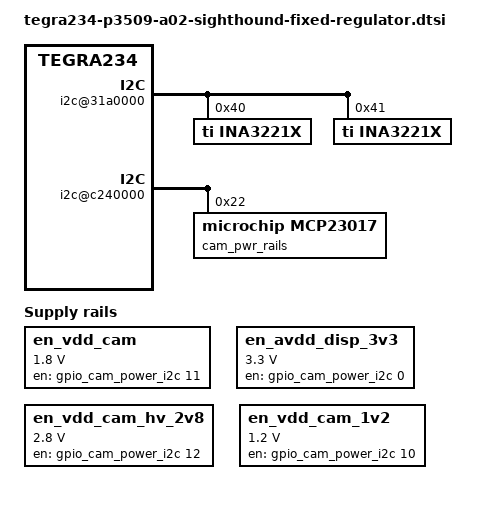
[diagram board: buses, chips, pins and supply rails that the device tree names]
/*
 * Copyright (c) 2022, NVIDIA CORPORATION.  All rights reserved.
 *
 * This program is free software; you can redistribute it and/or modify
 * it under the terms of the GNU General Public License as published by
 * the Free Software Foundation; either version 2 of the License, or
 * (at your option) any later version.
 *
 * This program is distributed in the hope that it will be useful, but WITHOUT
 * ANY WARRANTY; without even the implied warranty of MERCHANTABILITY or
 * FITNESS FOR A PARTICULAR PURPOSE.  See the GNU General Public License for
 * more details.
 */
/ {
	i2c@31a0000 {
		ina3221x@40 { // NAMES FOR THE NEW INA'S
			compatible = "ti,ina3221x";
			reg = <0x40>;
			ti,trigger-config = <0x7003>;
			ti,continuous-config = <0x7c07>;
			ti,enable-forced-continuous;
			#address-cells = <1>;
			#size-cells = <0>;
			channel@0 {
				reg = <0x0>;
				ti,rail-name = "VDD_12V_SENSE";
				ti,shunt-resistor-mohm = <47>;
			};
			channel@1 {
				reg = <0x1>;
				ti,rail-name = "VDD_3V3_SENSE";
				ti,shunt-resistor-mohm = <150>;
			};
			channel@2 {
				reg = <0x2>;
				ti,rail-name = "VDD_5V_SENSE";
				ti,shunt-resistor-mohm = <47>;
			};
		};

		ina3221x@41 {
			compatible = "ti,ina3221x";
			reg = <0x41>;
			ti,trigger-config = <0x7003>;
			ti,continuous-config = <0x7c07>;
			ti,enable-forced-continuous;
			#address-cells = <1>;
			#size-cells = <0>;
			channel@0 {
				reg = <0x0>;
				ti,rail-name = "VDD_1V2_SENSE";
				ti,shunt-resistor-mohm = <47>;
			};
			channel@1 {
				reg = <0x1>;
				ti,rail-name = "VDD_4V_SENSE";
				ti,shunt-resistor-mohm = <150>;
			};
			channel@2 {
				reg = <0x2>;
				ti,rail-name = "VDD_1V8_SENSE";
				ti,shunt-resistor-mohm = <47>;
			};
		};
	};

	/* Added I2C controller which will control the power */

	i2c@c240000 {
		gpio_cam_power_i2c: gpio@22 {
			compatible = "microchip,mcp23017";
			reg = <0x22>;
			gpio-controller;
			#gpio-cells = <2>;
			status = "okay";
			output-high;
			label = "cam_pwr_rails";

			pinctrl-names = "default";
			pinctrl-0 = <&gpio22pullups>;

			gpio22pullups: pinmux { 
				bias-pull-up; 
			};
		};
	};

    fixed-regulators {
		/* Added I2C Regulators here */

		en_vdd_cam: regulator@13 {
			compatible = "regulator-fixed-sync";
			reg = <13>;
			regulator-name = "en-vdd-cam";
			regulator-min-microvolt = <1800000>;
			regulator-max-microvolt = <1800000>;
			gpio = <&gpio_cam_power_i2c 11 1>;
			enable-active-high;
			regulator-always-on;
			regulator-boot-on;
		};

		en_avdd_disp_3v3: regulator@14 {
			compatible = "regulator-fixed-sync";
			reg = <14>;
			regulator-name = "en-vdd-disp-3v3";
			regulator-min-microvolt = <3300000>;
			regulator-max-microvolt = <3300000>;
			gpio = <&gpio_cam_power_i2c 0 1>;
			enable-active-high;
			regulator-always-on;
			regulator-boot-on;
		};

		en_vdd_cam_hv_2v8: regulator@15 {
			compatible = "regulator-fixed-sync";
			reg = <15>;
			regulator-name = "en-vdd-cam-hv-2v8";
			regulator-min-microvolt = <2800000>;
			regulator-max-microvolt = <2800000>;
			gpio = <&gpio_cam_power_i2c 12 1>;
			enable-active-high;
			regulator-always-on;
			regulator-boot-on;
		};

		en_vdd_cam_1v2: regulator@16 {
			compatible = "regulator-fixed-sync";
			reg = <16>;
			regulator-name = "en-vdd-cam-1v2";
			regulator-min-microvolt = <1200000>;
			regulator-max-microvolt = <1200000>;
			gpio = <&gpio_cam_power_i2c 10 1>;
			enable-active-high;
			regulator-always-on;
			regulator-boot-on;
		};
    };
}; 
